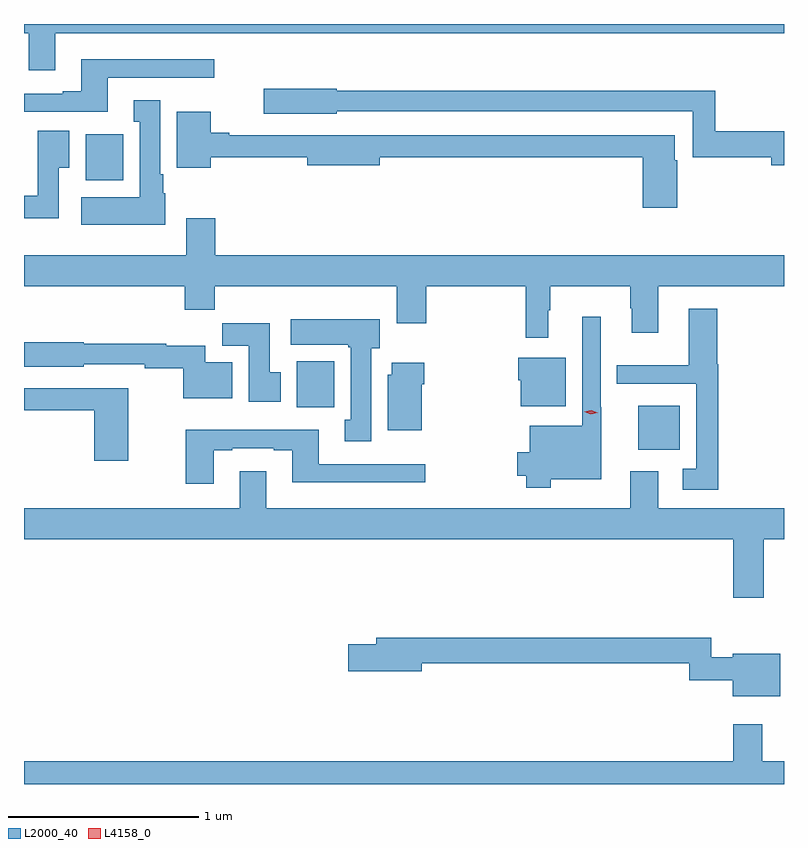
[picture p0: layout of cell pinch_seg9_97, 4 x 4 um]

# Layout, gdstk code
import gdstk
lib = gdstk.Library(unit=1e-6, precision=1e-09)
def R(c, l, rs):  # rectangles x0, y0, x1, y1
    for r in rs: c.add(gdstk.rectangle(r[:2], r[2:], *l))
def P(c, l, *ps):  # polygons
    for p in ps: c.add(gdstk.Polygon(p, *l))
L2000_40 = (2000, 40)
L4158_0 = (4158, 0)

pinch_seg9_97 = lib.new_cell('pinch_seg9_97')
R(pinch_seg9_97, L2000_40, [(1104.59,1167.587,1104.808,1167.82), (1102.793,1167.812,1102.99,1168.054), (1101.683,1169.006,1101.88,1169.248)])
P(pinch_seg9_97, L2000_40, [(1101.523,1169.78),(1105.358,1169.78),(1105.358,1169.829),(1101.358,1169.829),(1101.358,1169.78),(1101.383,1169.78),(1101.383,1169.586),(1101.523,1169.586)],
  [(1101.799,1169.547),(1102.36,1169.547),(1102.36,1169.644),(1101.659,1169.644),(1101.659,1169.476),(1101.563,1169.476),(1101.563,1169.463),(1101.358,1169.463),(1101.358,1169.367),(1101.799,1169.367)],
  [(1105.358,1169.264),(1104.995,1169.264),(1104.995,1169.479),(1103.004,1169.479),(1103.004,1169.487),(1102.62,1169.487),(1102.62,1169.357),(1103.004,1169.357),(1103.004,1169.37),(1104.879,1169.37),(1104.879,1169.128),(1105.292,1169.128),(1105.292,1169.086),(1105.358,1169.086)],
  [(1102.102,1168.938),(1102.09,1168.938),(1102.09,1169.038),(1102.075,1169.038),(1102.075,1169.428),(1101.935,1169.428),(1101.935,1169.315),(1101.968,1169.315),(1101.968,1168.918),(1101.659,1168.918),(1101.659,1168.772),(1102.102,1168.772)],
  [(1104.797,1169.111),(1104.784,1169.111),(1104.784,1169.244),(1102.438,1169.244),(1102.438,1169.257),(1102.342,1169.257),(1102.342,1169.368),(1102.163,1169.368),(1102.163,1169.072),(1102.342,1169.072),(1102.342,1169.128),(1102.85,1169.128),(1102.85,1169.086),(1103.23,1169.086),(1103.23,1169.128),(1104.614,1169.128),(1104.614,1168.863),(1104.797,1168.863)],
  [(1101.541,1169.072),(1101.595,1169.072),(1101.595,1169.266),(1101.431,1169.266),(1101.431,1168.924),(1101.358,1168.924),(1101.358,1168.806),(1101.541,1168.806)],
  [(1102.364,1168.807),(1102.211,1168.807),(1102.211,1168.612),(1101.358,1168.612),(1101.358,1168.448),(1102.205,1168.448),(1102.205,1168.324),(1102.361,1168.324),(1102.361,1168.448),(1103.321,1168.448),(1103.321,1168.254),(1103.474,1168.254),(1103.474,1168.448),(1103.998,1168.448),(1103.998,1168.179),(1104.116,1168.179),(1104.116,1168.322),(1104.127,1168.322),(1104.127,1168.448),(1104.55,1168.448),(1104.55,1168.334),(1104.557,1168.334),(1104.557,1168.203),(1104.697,1168.203),(1104.697,1168.448),(1105.358,1168.448),(1105.358,1168.612),(1102.364,1168.612)],
  [(1105.013,1168.039),(1105.007,1168.039),(1105.007,1168.33),(1104.857,1168.33),(1104.857,1168.033),(1104.478,1168.033),(1104.478,1167.936),(1104.897,1167.936),(1104.897,1167.487),(1104.825,1167.487),(1104.825,1167.378),(1105.013,1167.378)],
  [(1104.13,1167.434),(1104.395,1167.434),(1104.395,1167.811),(1104.393,1167.811),(1104.393,1168.288),(1104.297,1168.288),(1104.297,1167.715),(1104.02,1167.715),(1104.02,1167.574),(1103.953,1167.574),(1103.953,1167.452),(1104.001,1167.452),(1104.001,1167.389),(1104.13,1167.389)],
  [(1103.185,1168.122),(1103.23,1168.122),(1103.23,1168.276),(1102.761,1168.276),(1102.761,1168.142),(1103.065,1168.142),(1103.065,1168.129),(1103.078,1168.129),(1103.078,1167.746),(1103.045,1167.746),(1103.045,1167.633),(1103.185,1167.633)],
  [(1102.708,1167.996),(1102.651,1167.996),(1102.651,1168.255),(1102.402,1168.255),(1102.402,1168.136),(1102.541,1168.136),(1102.541,1167.84),(1102.708,1167.84)],
  [(1102.453,1168.048),(1102.312,1168.048),(1102.312,1168.136),(1102.106,1168.136),(1102.106,1168.147),(1101.672,1168.147),(1101.672,1168.155),(1101.358,1168.155),(1101.358,1168.025),(1101.672,1168.025),(1101.672,1168.038),(1101.994,1168.038),(1101.994,1168.018),(1102.195,1168.018),(1102.195,1167.86),(1102.453,1167.86)],
  [(1104.208,1168.072),(1103.96,1168.072),(1103.96,1167.954),(1103.972,1167.954),(1103.972,1167.818),(1104.208,1167.818)],
  [(1103.452,1167.932),(1103.465,1167.932),(1103.465,1168.045),(1103.294,1168.045),(1103.294,1167.984),(1103.273,1167.984),(1103.273,1167.692),(1103.452,1167.692)],
  [(1101.906,1167.912),(1101.358,1167.912),(1101.358,1167.796),(1101.728,1167.796),(1101.728,1167.531),(1101.906,1167.531)],
  [(1102.357,1167.585),(1102.453,1167.585),(1102.453,1167.597),(1102.673,1167.597),(1102.673,1167.585),(1102.769,1167.585),(1102.769,1167.416),(1103.47,1167.416),(1103.47,1167.513),(1102.909,1167.513),(1102.909,1167.694),(1102.21,1167.694),(1102.21,1167.408),(1102.357,1167.408)],
  [(1105.251,1167.116),(1105.358,1167.116),(1105.358,1167.28),(1104.697,1167.28),(1104.697,1167.475),(1104.548,1167.475),(1104.548,1167.28),(1102.633,1167.28),(1102.633,1167.475),(1102.493,1167.475),(1102.493,1167.28),(1101.358,1167.28),(1101.358,1167.116),(1105.091,1167.116),(1105.091,1166.808),(1105.251,1166.808)],
  [(1105.339,1166.515),(1105.088,1166.515),(1105.088,1166.497),(1104.975,1166.497),(1104.975,1166.6),(1103.213,1166.6),(1103.213,1166.564),(1103.064,1166.564),(1103.064,1166.422),(1103.452,1166.422),(1103.452,1166.464),(1104.859,1166.464),(1104.859,1166.376),(1105.088,1166.376),(1105.088,1166.291),(1105.339,1166.291)],
  [(1105.358,1165.948),(1105.243,1165.948),(1105.243,1166.143),(1105.091,1166.143),(1105.091,1165.948),(1101.358,1165.948),(1101.358,1165.829),(1105.358,1165.829)])
P(pinch_seg9_97, L4158_0, [(1104.342,1167.775),(1104.307,1167.787),(1104.307,1167.787),(1104.307,1167.787),(1104.343,1167.795),(1104.379,1167.784),(1104.379,1167.784),(1104.379,1167.783)])

lib.write_gds('pinch_seg9_97.gds')
